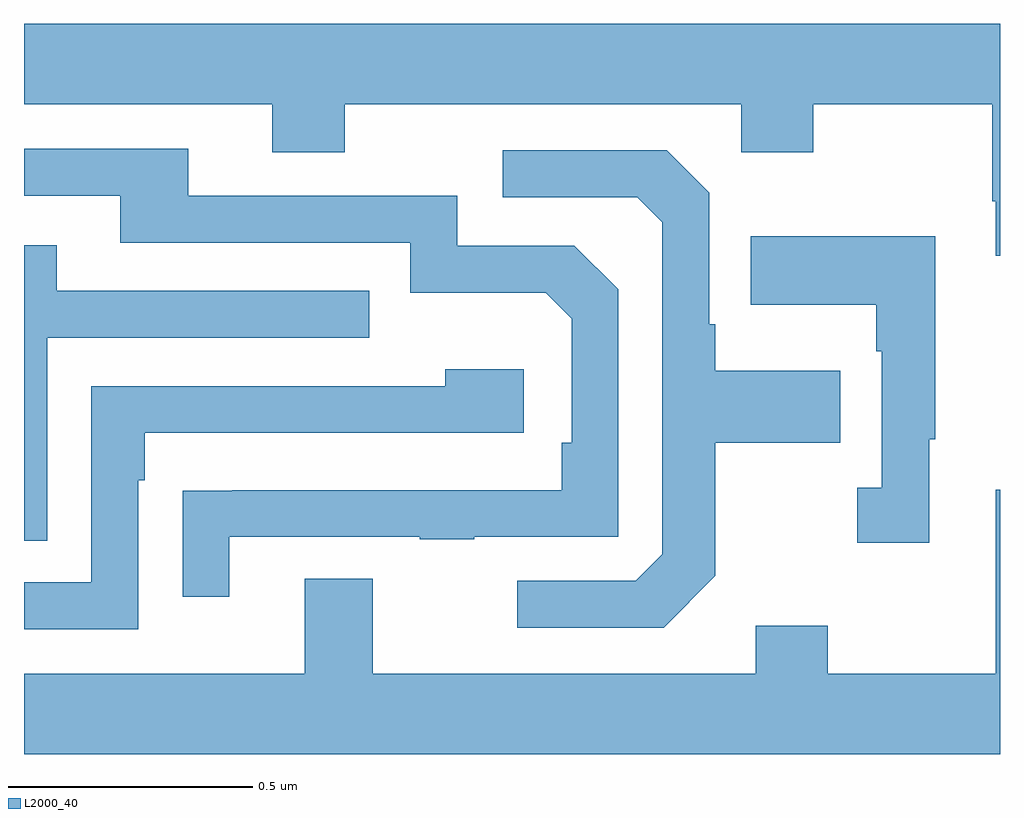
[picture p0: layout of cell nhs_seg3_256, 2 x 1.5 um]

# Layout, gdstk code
import gdstk
lib = gdstk.Library(unit=1e-6, precision=1e-09)
def P(c, l, *ps):  # polygons
    for p in ps: c.add(gdstk.Polygon(p, *l))
L2000_40 = (2000, 40)

nhs_seg3_256 = lib.new_cell('nhs_seg3_256')
P(nhs_seg3_256, L2000_40, [(116,681.1),(114,681.1),(114,680.936),(114.509,680.936),(114.509,680.837),(114.657,680.837),(114.657,680.936),(115.47,680.936),(115.47,680.837),(115.617,680.837),(115.617,680.936),(115.984,680.936),(115.984,680.737),(115.991,680.737),(115.991,680.625),(116,680.625)],
  [(114.421,680.049),(114.811,680.049),(114.811,680.044),(114.923,680.044),(114.923,680.049),(115.218,680.049),(115.218,680.556),(115.128,680.646),(114.888,680.646),(114.888,680.748),(114.337,680.748),(114.337,680.844),(114,680.844),(114,680.748),(114.197,680.748),(114.197,680.652),(114.792,680.652),(114.792,680.549),(115.069,680.549),(115.122,680.496),(115.122,680.242),(115.102,680.242),(115.102,680.145),(114.427,680.145),(114.427,680.144),(114.325,680.144),(114.325,679.926),(114.421,679.926)],
  [(115.417,679.969),(115.417,680.242),(115.673,680.242),(115.673,680.389),(115.417,680.389),(115.417,680.485),(115.404,680.485),(115.404,680.754),(115.317,680.841),(114.981,680.841),(114.981,680.745),(115.257,680.745),(115.308,680.694),(115.308,680.013),(115.254,679.959),(115.011,679.959),(115.011,679.863),(115.311,679.863)],
  [(115.855,680.249),(115.867,680.249),(115.867,680.665),(115.489,680.665),(115.489,680.525),(115.746,680.525),(115.746,680.429),(115.758,680.429),(115.758,680.15),(115.707,680.15),(115.707,680.037),(115.855,680.037)],
  [(114.048,680.457),(114.707,680.457),(114.707,680.553),(114.067,680.553),(114.067,680.647),(114,680.647),(114,680.041),(114.048,680.041)],
  [(114.234,680.165),(114.247,680.165),(114.247,680.262),(115.024,680.262),(115.024,680.392),(114.863,680.392),(114.863,680.358),(114.138,680.358),(114.138,679.956),(114,679.956),(114,679.86),(114.234,679.86)],
  [(116,680.146),(115.991,680.146),(115.991,679.768),(115.647,679.768),(115.647,679.867),(115.499,679.867),(115.499,679.768),(114.715,679.768),(114.715,679.963),(114.575,679.963),(114.575,679.768),(114,679.768),(114,679.604),(116,679.604)])

lib.write_gds('nhs_seg3_256.gds')
